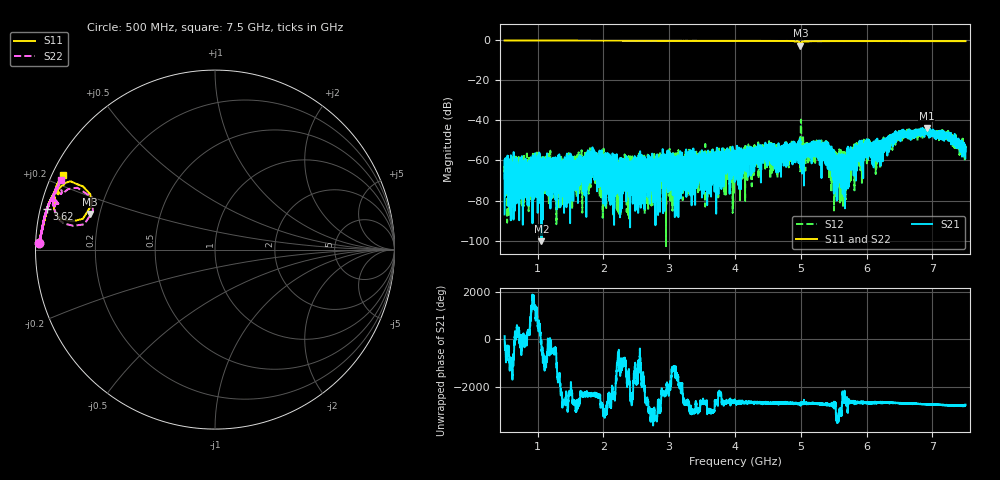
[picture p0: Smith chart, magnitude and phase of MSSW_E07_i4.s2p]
!Keysight Technologies,M9374A,MY55442783,A.12.55.05
!Date: Thursday, May 20, 2021 17:13:25
!Correction: S11(Full 2 Port(1,2))
!S21(Full 2 Port(1,2))
!S12(Full 2 Port(1,2))
!S22(Full 2 Port(1,2))
!S2P File: Measurements: S11, S21, S12, S22:
# Hz S  RI  R 50
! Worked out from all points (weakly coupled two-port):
!   7001 points, 500 MHz to 7.5 GHz, reference 50 ohm
!   highest |S21| = -43.78 dB at 6.913 GHz (marker M1); lowest = -100.4 dB at 1.06 GHz (marker M2)
!   lowest |S11| = -2.8 dB at 4.994 GHz (marker M3), VSWR 6.31, Z = 8.07 + j6.78 ohm
!   |S11| at or under -10 dB: nowhere
!   |S22| runs from -3.0 to -0.2 dB; largest |S21 - S12| = 0.0096
!   S11 on the Smith chart (normalised r, x): 500 MHz: 0.01, +0.02; 3.62 GHz: 0.02, +0.12; 7.5 GHz: 0.03, +0.23
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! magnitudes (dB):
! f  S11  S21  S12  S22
! 500 MHz  -0.2  -86.9  -62.4  -0.2
! 537 MHz  -0.2  -71.9  -68.1  -0.2
! 1.06 GHz  -0.2  -100.4  -65.9  -0.2
! 1.667 GHz  -0.3  -63.1  -61.2  -0.3
! 1.843 GHz  -0.3  -64.1  -58.6  -0.3
! 2.237 GHz  -0.3  -62.8  -73.9  -0.3
! 2.507 GHz  -0.3  -59.0  -64.2  -0.3
! 2.834 GHz  -0.3  -66.8  -62.2  -0.3
! 3.62 GHz  -0.3  -63.4  -55.5  -0.3
! 4 GHz  -0.4  -55.5  -62.5  -0.3
! 4.994 GHz  -2.8  -55.5  -53.9  -3.0
! 5.167 GHz  -0.5  -51.7  -53.2  -0.6
! 5.386 GHz  -0.5  -58.7  -52.4  -0.6
! 5.524 GHz  -0.5  -60.0  -65.3  -0.5
! 5.663 GHz  -0.5  -65.9  -64.6  -0.5
! 5.862 GHz  -0.5  -53.6  -55.7  -0.5
! 5.987 GHz  -0.5  -58.4  -52.6  -0.5
! 6.145 GHz  -0.5  -53.7  -59.7  -0.5
! 6.334 GHz  -0.4  -55.2  -53.1  -0.5
! 6.913 GHz  -0.5  -43.8  -44.9  -0.5
! 7.252 GHz  -0.5  -47.7  -49.1  -0.5
! 7.5 GHz  -0.5  -58.9  -56.0  -0.5
